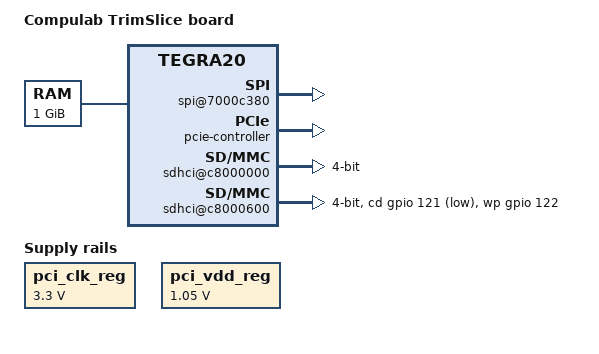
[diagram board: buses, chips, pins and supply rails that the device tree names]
/dts-v1/;

#include "tegra20.dtsi"

/ {
	model = "Compulab TrimSlice board";
	compatible = "compulab,trimslice", "nvidia,tegra20";

	aliases {
		usb0 = "/usb@c5008000";
		usb1 = "/usb@c5000000";
		sdhci0 = "/sdhci@c8000600";
		sdhci1 = "/sdhci@c8000000";
	};

	memory {
		reg = <0x00000000 0x40000000>;
	};

	serial@70006000 {
		clock-frequency = <216000000>;
	};

	i2c@7000c000 {
		status = "disabled";
	};

	spi@7000c380 {
		status = "okay";
		spi-max-frequency = <25000000>;
	};

	i2c@7000c400 {
		status = "disabled";
	};

	i2c@7000c500 {
		status = "disabled";
	};

	i2c@7000d000 {
		status = "disabled";
	};

	pcie-controller {
		status = "okay";
		pex-clk-supply = <&pci_clk_reg>;
		vdd-supply = <&pci_vdd_reg>;

		pci@1,0 {
			status = "okay";
		};
	};

	usb@c5000000 {
		nvidia,vbus-gpio = <&gpio 170 0>; /* PV2 */
	};

	usb@c5004000 {
		status = "disabled";
	};

	sdhci@c8000000 {
		status = "okay";
		bus-width = <4>;
	};

	sdhci@c8000600 {
		status = "okay";
		cd-gpios = <&gpio 121 1>; /* gpio PP1 */
		wp-gpios = <&gpio 122 0>; /* gpio PP2 */
		bus-width = <4>;
	};

	regulators {
		compatible = "simple-bus";
		#address-cells = <1>;
		#size-cells = <0>;

		pci_clk_reg: regulator@3 {
			compatible = "regulator-fixed";
			reg = <3>;
			regulator-name = "pci_clk";
			regulator-min-microvolt = <3300000>;
			regulator-max-microvolt = <3300000>;
			regulator-always-on;
		};

		pci_vdd_reg: regulator@4 {
			compatible = "regulator-fixed";
			reg = <4>;
			regulator-name = "pci_vdd";
			regulator-min-microvolt = <1050000>;
			regulator-max-microvolt = <1050000>;
			regulator-always-on;
		};
	};

};
